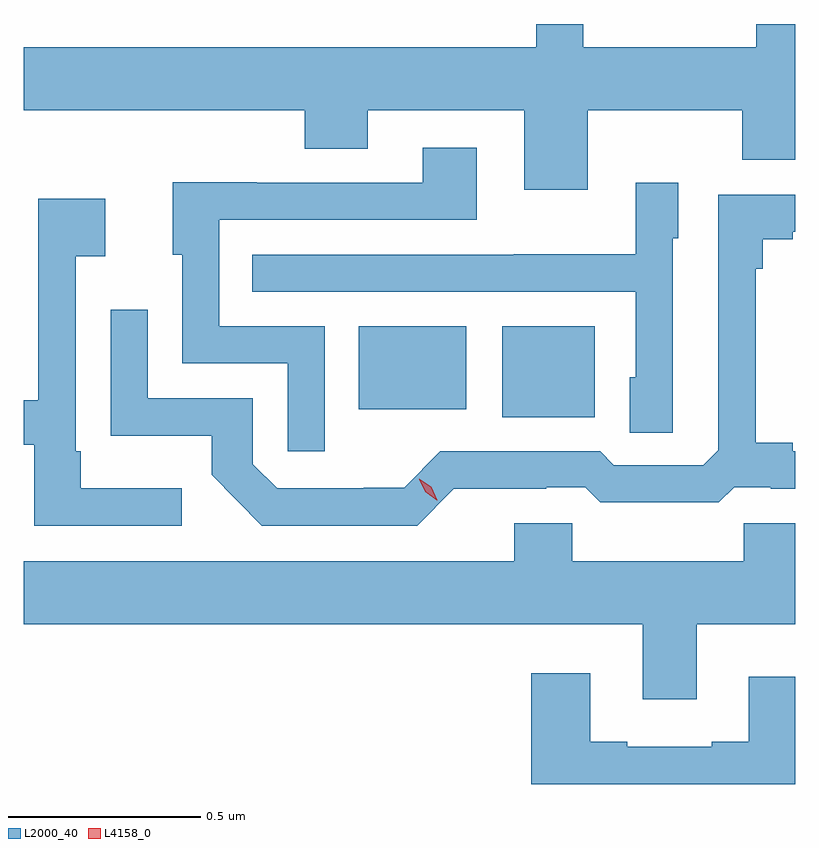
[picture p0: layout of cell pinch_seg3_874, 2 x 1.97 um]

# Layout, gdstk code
import gdstk
lib = gdstk.Library(unit=1e-6, precision=1e-09)
def R(c, l, rs):  # rectangles x0, y0, x1, y1
    for r in rs: c.add(gdstk.rectangle(r[:2], r[2:], *l))
def P(c, l, *ps):  # polygons
    for p in ps: c.add(gdstk.Polygon(p, *l))
L2000_40 = (2000, 40)
L4158_0 = (4158, 0)

pinch_seg3_874 = lib.new_cell('pinch_seg3_874')
R(pinch_seg3_874, L2000_40, [(748.04,682.805,748.279,683.041), (747.668,682.826,747.946,683.041)])
P(pinch_seg3_874, L2000_40, [(748.261,683.6),(748.661,683.6),(748.661,683.472),(748.799,683.472),(748.799,683.824),(748.698,683.824),(748.698,683.764),(748.249,683.764),(748.249,683.824),(748.128,683.824),(748.128,683.764),(746.799,683.764),(746.799,683.6),(747.527,683.6),(747.527,683.501),(747.691,683.501),(747.691,683.6),(748.097,683.6),(748.097,683.394),(748.261,683.394)],
  [(747.579,683.04),(747.306,683.04),(747.306,683.316),(747.973,683.316),(747.973,683.503),(747.833,683.503),(747.833,683.412),(747.403,683.412),(747.403,683.414),(747.185,683.414),(747.185,683.226),(747.21,683.226),(747.21,682.944),(747.483,682.944),(747.483,682.716),(747.579,682.716)],
  [(748.482,683.268),(748.495,683.268),(748.495,683.413),(748.386,683.413),(748.386,683.227),(748.069,683.227),(748.069,683.226),(747.391,683.226),(747.391,683.13),(748.386,683.13),(748.386,682.908),(748.37,682.908),(748.37,682.765),(748.482,682.765)],
  [(747.914,682.619),(748.154,682.619),(748.154,682.623),(748.254,682.623),(748.294,682.584),(748.601,682.584),(748.641,682.623),(748.735,682.623),(748.735,682.619),(748.799,682.619),(748.799,682.716),(748.792,682.716),(748.792,682.739),(748.697,682.739),(748.697,683.189),(748.715,683.189),(748.715,683.266),(748.792,683.266),(748.792,683.285),(748.799,683.285),(748.799,683.382),(748.599,683.382),(748.599,682.719),(748.56,682.68),(748.329,682.68),(748.293,682.716),(747.879,682.716),(747.785,682.622),(747.68,682.622),(747.68,682.62),(747.456,682.62),(747.393,682.683),(747.393,682.854),(747.12,682.854),(747.12,683.083),(747.024,683.083),(747.024,682.757),(747.286,682.757),(747.286,682.655),(747.416,682.524),(747.819,682.524)],
  [(747.208,682.621),(746.947,682.621),(746.947,682.717),(746.934,682.717),(746.934,683.222),(747.01,683.222),(747.01,683.371),(746.837,683.371),(746.837,682.849),(746.799,682.849),(746.799,682.733),(746.826,682.733),(746.826,682.524),(747.208,682.524)],
  [(748.543,682.268),(748.799,682.268),(748.799,682.53),(748.666,682.53),(748.666,682.432),(748.221,682.432),(748.221,682.53),(748.07,682.53),(748.07,682.432),(746.799,682.432),(746.799,682.268),(748.403,682.268),(748.403,682.074),(748.543,682.074)],
  [(748.799,682.132),(748.679,682.132),(748.679,681.964),(748.583,681.964),(748.583,681.951),(748.363,681.951),(748.363,681.964),(748.267,681.964),(748.267,682.141),(748.115,682.141),(748.115,681.854),(748.799,681.854)])
P(pinch_seg3_874, L4158_0, [(747.87,682.589),(747.84,682.611),(747.824,682.644),(747.824,682.645),(747.824,682.645),(747.855,682.624),(747.871,682.59),(747.871,682.589)])

lib.write_gds('pinch_seg3_874.gds')
